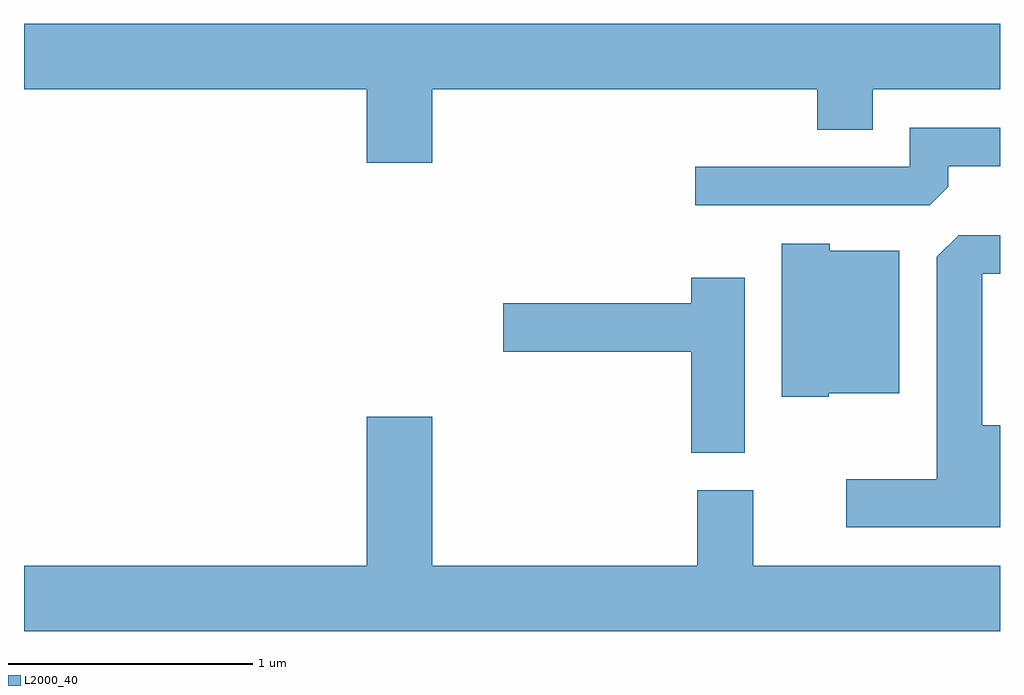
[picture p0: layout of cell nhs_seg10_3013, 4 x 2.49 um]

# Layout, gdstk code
import gdstk
lib = gdstk.Library(unit=1e-6, precision=1e-09)
def P(c, l, *ps):  # polygons
    for p in ps: c.add(gdstk.Polygon(p, *l))
L2000_40 = (2000, 40)

nhs_seg10_3013 = lib.new_cell('nhs_seg10_3013')
P(nhs_seg10_3013, L2000_40, [(275.284,2147.216),(276.861,2147.216),(276.861,2147.051),(277.089,2147.051),(277.089,2147.216),(277.611,2147.216),(277.611,2147.484),(273.611,2147.484),(273.611,2147.216),(275.016,2147.216),(275.016,2146.916),(275.284,2146.916)],
  [(277.399,2146.817),(277.399,2146.901),(277.611,2146.901),(277.611,2147.059),(277.241,2147.059),(277.241,2146.899),(276.363,2146.899),(276.363,2146.741),(277.324,2146.741)],
  [(277.611,2145.839),(277.539,2145.839),(277.539,2146.461),(277.611,2146.461),(277.611,2146.619),(277.442,2146.619),(277.351,2146.529),(277.351,2145.619),(276.981,2145.619),(276.981,2145.421),(277.611,2145.421)],
  [(276.91,2145.971),(277.199,2145.971),(277.199,2146.554),(276.914,2146.554),(276.914,2146.584),(276.716,2146.584),(276.716,2145.956),(276.91,2145.956)],
  [(276.564,2146.444),(276.346,2146.444),(276.346,2146.339),(275.576,2146.339),(275.576,2146.141),(276.346,2146.141),(276.346,2145.726),(276.564,2145.726)],
  [(277.611,2145.264),(276.599,2145.264),(276.599,2145.574),(276.371,2145.574),(276.371,2145.264),(275.284,2145.264),(275.284,2145.874),(275.016,2145.874),(275.016,2145.264),(273.611,2145.264),(273.611,2144.996),(277.611,2144.996)])

lib.write_gds('nhs_seg10_3013.gds')
